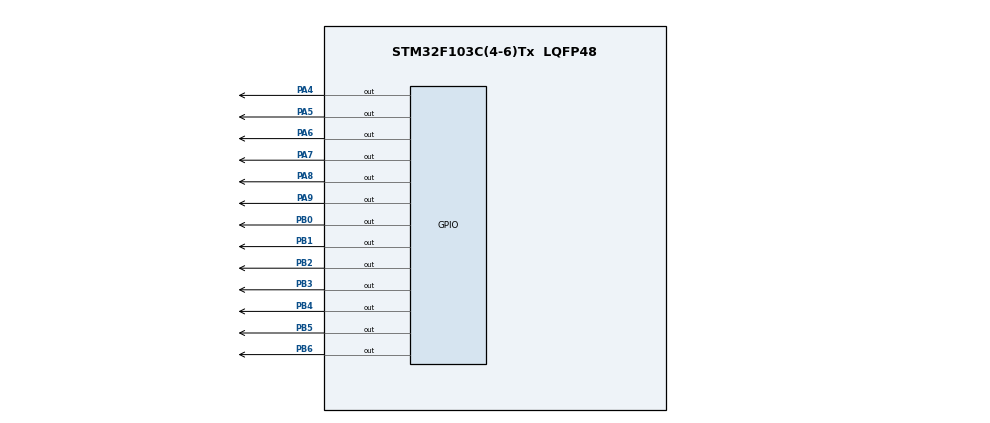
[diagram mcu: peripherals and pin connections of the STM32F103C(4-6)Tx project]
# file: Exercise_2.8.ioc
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Mcu.Family=STM32F1
Mcu.Name=STM32F103C(4-6)Tx
Mcu.Package=LQFP48
NVIC.PriorityGroup=NVIC_PRIORITYGROUP_4
NVIC.TIM2_IRQn=true\:0\:0\:false\:false\:true\:true\:true\:true
PA4.Signal=GPIO_Output
PA5.Signal=GPIO_Output
PA6.Signal=GPIO_Output
PA7.Signal=GPIO_Output
PA8.Signal=GPIO_Output
PA9.Signal=GPIO_Output
PB0.Signal=GPIO_Output
PB1.Signal=GPIO_Output
PB2.Signal=GPIO_Output
PB3.Signal=GPIO_Output
PB4.Signal=GPIO_Output
PB5.Signal=GPIO_Output
PB6.Signal=GPIO_Output
ProjectManager.HeapSize=0x200
ProjectManager.StackSize=0x400
ProjectManager.TargetToolchain=STM32CubeIDE
RCC.APB1Freq_Value=8000000
RCC.APB2Freq_Value=8000000
TIM2.Period=9
TIM2.Prescaler=7999
VP_SYS_VS_ND.Mode=No_Debug
VP_TIM2_VS_ClockSourceINT.Mode=Internal
board=custom

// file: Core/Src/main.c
/* USER CODE BEGIN Header */
/**
  ******************************************************************************
  * @file           : main.c
  * @brief          : Main program body
  ******************************************************************************
  * @attention
  *
  * Copyright (c) 2025 STMicroelectronics.
  * All rights reserved.
  *
  * This software is licensed under terms that can be found in the LICENSE file
  * in the root directory of this software component.
  * If no LICENSE file comes with this software, it is provided AS-IS.
  *
  ******************************************************************************
  */
/* USER CODE END Header */
#include "main.h"
#include "software_timer.h"

/* USER CODE BEGIN PTD */
void number(int n);
void update7SEG(int index);
void updateClockBuffer();
/* USER CODE END PTD */

TIM_HandleTypeDef htim2;

void SystemClock_Config(void);
static void MX_GPIO_Init(void);
static void MX_TIM2_Init(void);

/* USER CODE BEGIN 0 */

const int MAX_LED = 4;
int index_led = 0;
int led_buffer[4] = {1,2,3,0};
int hour = 15, minute = 8, second = 50;
/* USER CODE END 0 */

int main(void)
{

  /* MCU Configuration--------------------------------------------------------*/

  /* Reset of all peripherals, Initializes the Flash interface and the Systick. */
  HAL_Init();

  /* Configure the system clock */
  SystemClock_Config();

  /* Initialize all configured peripherals */
  MX_GPIO_Init();
  MX_TIM2_Init();
  /* USER CODE BEGIN 2 */
  HAL_TIM_Base_Start_IT(&htim2);
  /* USER CODE END 2 */

  /* Infinite loop */
  /* USER CODE BEGIN WHILE */
  setTimer1(100);
  setTimer2(25);
  updateClockBuffer();
  while (1)
  {
	  if(timer1_flag == 1){
		  setTimer1(100);
		  HAL_GPIO_TogglePin(GPIOA, GPIO_PIN_5);
		  HAL_GPIO_TogglePin(GPIOA, GPIO_PIN_4);
		  second++;
		  if(second == 60){
			  second = 0;
			  minute++;
		  }
		  if(minute == 60){
			  minute = 0;
			  hour++;
		  }
		  if(hour == 24){
			  hour = 0;
		  }
		  updateClockBuffer();
	  }
	  if(timer2_flag == 1){
		  setTimer2(25);
		  update7SEG(index_led);
		  index_led++;
		  if(index_led == MAX_LED){
			  index_led = 0;
		  }
	  }
    /* USER CODE END WHILE */

  }
}

void SystemClock_Config(void)
{
  RCC_OscInitTypeDef RCC_OscInitStruct = {0};
  RCC_ClkInitTypeDef RCC_ClkInitStruct = {0};

  /** Initializes the RCC Oscillators according to the specified parameters
  * in the RCC_OscInitTypeDef structure.
  */
  RCC_OscInitStruct.OscillatorType = RCC_OSCILLATORTYPE_HSI;
  RCC_OscInitStruct.HSIState = RCC_HSI_ON;
  RCC_OscInitStruct.HSICalibrationValue = RCC_HSICALIBRATION_DEFAULT;
  RCC_OscInitStruct.PLL.PLLState = RCC_PLL_NONE;
  if (HAL_RCC_OscConfig(&RCC_OscInitStruct) != HAL_OK)
  {
    Error_Handler();
  }

  /** Initializes the CPU, AHB and APB buses clocks
  */
  RCC_ClkInitStruct.ClockType = RCC_CLOCKTYPE_HCLK|RCC_CLOCKTYPE_SYSCLK
                              |RCC_CLOCKTYPE_PCLK1|RCC_CLOCKTYPE_PCLK2;
  RCC_ClkInitStruct.SYSCLKSource = RCC_SYSCLKSOURCE_HSI;
  RCC_ClkInitStruct.AHBCLKDivider = RCC_SYSCLK_DIV1;
  RCC_ClkInitStruct.APB1CLKDivider = RCC_HCLK_DIV1;
  RCC_ClkInitStruct.APB2CLKDivider = RCC_HCLK_DIV1;

  if (HAL_RCC_ClockConfig(&RCC_ClkInitStruct, FLASH_LATENCY_0) != HAL_OK)
  {
    Error_Handler();
  }
}

static void MX_TIM2_Init(void)
{

  TIM_ClockConfigTypeDef sClockSourceConfig = {0};
  TIM_MasterConfigTypeDef sMasterConfig = {0};

  htim2.Instance = TIM2;
  htim2.Init.Prescaler = 7999;
  htim2.Init.CounterMode = TIM_COUNTERMODE_UP;
  htim2.Init.Period = 9;
  htim2.Init.ClockDivision = TIM_CLOCKDIVISION_DIV1;
  htim2.Init.AutoReloadPreload = TIM_AUTORELOAD_PRELOAD_DISABLE;
  if (HAL_TIM_Base_Init(&htim2) != HAL_OK)
  {
    Error_Handler();
  }
  sClockSourceConfig.ClockSource = TIM_CLOCKSOURCE_INTERNAL;
  if (HAL_TIM_ConfigClockSource(&htim2, &sClockSourceConfig) != HAL_OK)
  {
    Error_Handler();
  }
  sMasterConfig.MasterOutputTrigger = TIM_TRGO_RESET;
  sMasterConfig.MasterSlaveMode = TIM_MASTERSLAVEMODE_DISABLE;
  if (HAL_TIMEx_MasterConfigSynchronization(&htim2, &sMasterConfig) != HAL_OK)
  {
    Error_Handler();
  }

}

static void MX_GPIO_Init(void)
{
  GPIO_InitTypeDef GPIO_InitStruct = {0};

  /* GPIO Ports Clock Enable */
  __HAL_RCC_GPIOA_CLK_ENABLE();
  __HAL_RCC_GPIOB_CLK_ENABLE();

  /*Configure GPIO pin Output Level */
  HAL_GPIO_WritePin(GPIOA, GPIO_PIN_4|GPIO_PIN_5|GPIO_PIN_6|GPIO_PIN_7
                          |GPIO_PIN_8|GPIO_PIN_9, GPIO_PIN_SET);

  /*Configure GPIO pin Output Level */
  HAL_GPIO_WritePin(GPIOB, GPIO_PIN_0|GPIO_PIN_1|GPIO_PIN_2|GPIO_PIN_3
                          |GPIO_PIN_4|GPIO_PIN_5|GPIO_PIN_6, GPIO_PIN_SET);

  /*Configure GPIO pins : PA4 PA5 PA6 PA7
                           PA8 PA9 */
  GPIO_InitStruct.Pin = GPIO_PIN_4|GPIO_PIN_5|GPIO_PIN_6|GPIO_PIN_7
                          |GPIO_PIN_8|GPIO_PIN_9;
  GPIO_InitStruct.Mode = GPIO_MODE_OUTPUT_PP;
  GPIO_InitStruct.Pull = GPIO_NOPULL;
  GPIO_InitStruct.Speed = GPIO_SPEED_FREQ_LOW;
  HAL_GPIO_Init(GPIOA, &GPIO_InitStruct);

  /*Configure GPIO pins : PB0 PB1 PB2 PB3
                           PB4 PB5 PB6 */
  GPIO_InitStruct.Pin = GPIO_PIN_0|GPIO_PIN_1|GPIO_PIN_2|GPIO_PIN_3
                          |GPIO_PIN_4|GPIO_PIN_5|GPIO_PIN_6;
  GPIO_InitStruct.Mode = GPIO_MODE_OUTPUT_PP;
  GPIO_InitStruct.Pull = GPIO_NOPULL;
  GPIO_InitStruct.Speed = GPIO_SPEED_FREQ_LOW;
  HAL_GPIO_Init(GPIOB, &GPIO_InitStruct);

}

/* USER CODE BEGIN 4 */
uint8_t segment_code[10] = {0x3F, 0x06, 0x5B, 0x4F, 0x66,
                            0x6D, 0x7D, 0x07, 0x7F, 0x6F};

void number(int n){
    uint8_t code = segment_code[n];
    GPIOB->ODR = ~code;
}

void updateClockBuffer(){
	led_buffer[0] = hour/10;
	led_buffer[1] = hour%10;
	led_buffer[2] = minute/10;
	led_buffer[3] = minute%10;
}

void update7SEG(int index){
	switch(index){
		case 0:
			HAL_GPIO_WritePin(GPIOA, GPIO_PIN_7|GPIO_PIN_8|GPIO_PIN_9, GPIO_PIN_SET);
			HAL_GPIO_WritePin(GPIOA, GPIO_PIN_6, GPIO_PIN_RESET);
			number(led_buffer[index]);
			break;
		case 1:
			HAL_GPIO_WritePin(GPIOA, GPIO_PIN_6|GPIO_PIN_8|GPIO_PIN_9, GPIO_PIN_SET);
			HAL_GPIO_WritePin(GPIOA, GPIO_PIN_7, GPIO_PIN_RESET);
			number(led_buffer[index]);
			break;
		case 2:
			HAL_GPIO_WritePin(GPIOA, GPIO_PIN_6|GPIO_PIN_7|GPIO_PIN_9, GPIO_PIN_SET);
			HAL_GPIO_WritePin(GPIOA, GPIO_PIN_8, GPIO_PIN_RESET);
			number(led_buffer[index]);
			break;
		case 3:
			HAL_GPIO_WritePin(GPIOA, GPIO_PIN_6|GPIO_PIN_7|GPIO_PIN_8, GPIO_PIN_SET);
			HAL_GPIO_WritePin(GPIOA, GPIO_PIN_9, GPIO_PIN_RESET);
			number(led_buffer[index]);
			break;
		default:
			break;
	}
}

void HAL_TIM_PeriodElapsedCallback(TIM_HandleTypeDef *htim){
	timerRun();
}
/* USER CODE END 4 */

void Error_Handler(void)
{
  __disable_irq();
  while (1)
  {
  }
}
